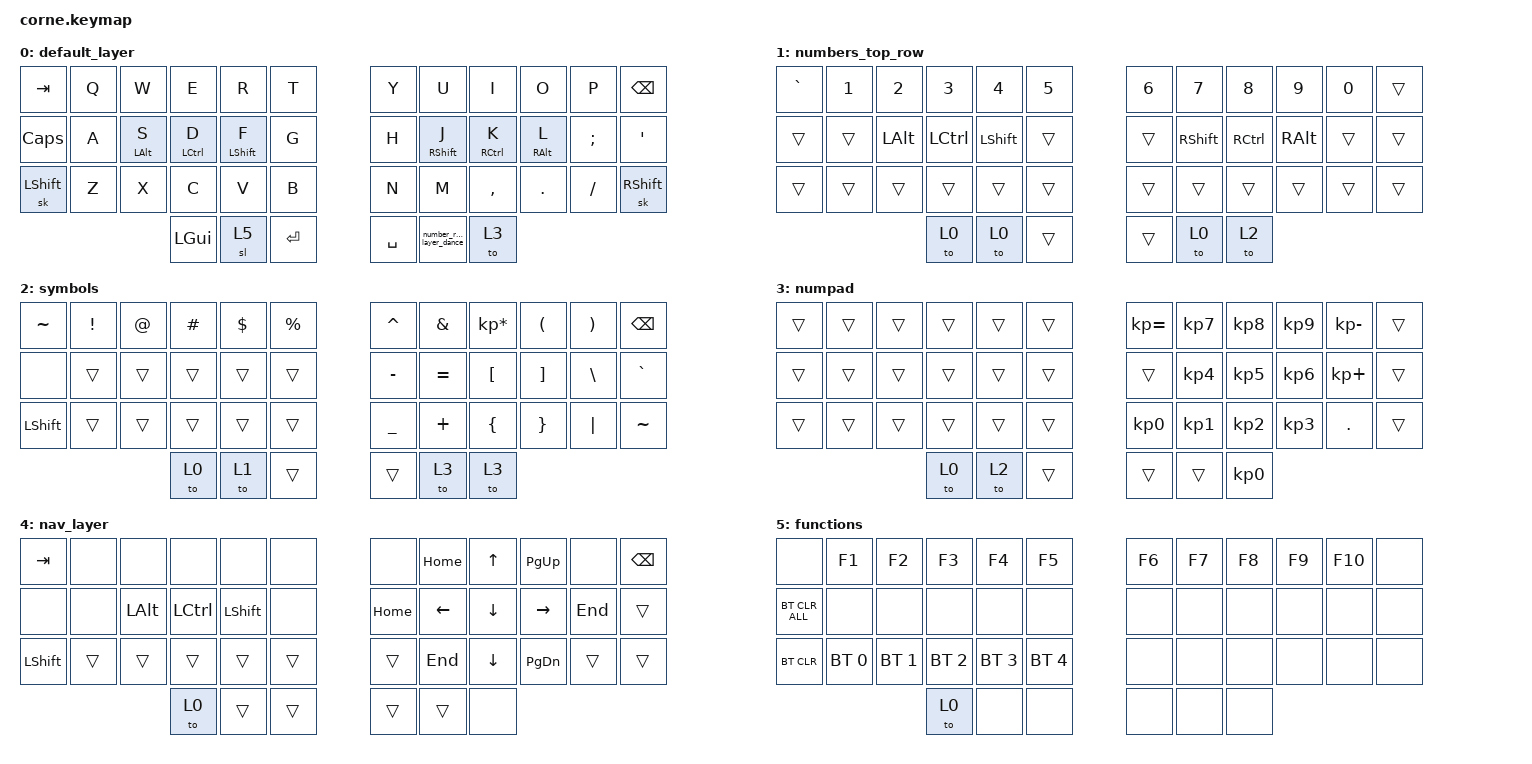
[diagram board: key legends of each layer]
/*
 * Copyright (c) 2020 The ZMK Contributors
 *
 * SPDX-License-Identifier: MIT
 */

#include <behaviors.dtsi>
#include <dt-bindings/zmk/bt.h>
#include <dt-bindings/zmk/keys.h>

/ {
    //
    // Corne Key Positions
    //
    // | 0  | 1  | 2  | 3  | 4  | 5  |   | 6  | 7  | 8  | 9  | 10 | 11 |
    // | 12 | 13 | 14 | 15 | 16 | 17 |   | 18 | 19 | 20 | 21 | 22 | 23 |
    // | 24 | 25 | 26 | 27 | 28 | 29 |   | 30 | 31 | 32 | 33 | 34 | 35 |
    //                | 36 | 37 | 38 |   | 39 | 40 | 41 |
    //

    #define LEFT_HAND_KEYS      \
          0  1  2  3  4  5      \
         12 13 14 15 16 17      \
         24 25 26 27 28 29

    #define RIGHT_HAND_KEYS     \
                                        6  7  8  9 10 11 \
                                       18 19 20 21 22 23 \
                                       30 31 32 33 34 35 

    #define THUMB_KEYS   36 37 38   39 40 41

    #define HOMEY_HOLDING_TYPE "tap-preferred"
    #define INDEX_HOLDING_TYPE "tap-preferred"

    //
    // HOMEY_HOLDING_TIME defines how long you need to hold (milliseconds)
    // home row mod keys in order to send their modifiers to the computer
    // (i.e. "register" them) for mod-click mouse usage (e.g. Ctrl-Click).
    //
    #define HOMEY_HOLDING_TIME 270 // expert (100ms)
    #define INDEX_HOLDING_TIME 170


    //
    // HOMEY_STREAK_DECAY defines how long you need to wait (milliseconds)
    // after typing before you can use home row mods again.  It prevents
    // unintended activation of home row mods when you're actively typing.
    //
    #define INDEX_STREAK_DECAY 150
    #define HOMEY_STREAK_DECAY 250
    

    //
    // HOMEY_REPEAT_DECAY defines how much time you have left (milliseconds)
    // after tapping a key to hold it again in order to make it auto-repeat.
    //
    #define INDEX_REPEAT_DECAY 300 // "tap then hold" for key auto-repeat
    #define HOMEY_REPEAT_DECAY 300 // "tap then hold" for key auto-repeat
    behaviors {
        left_pinky: homey_left_pinky {
            compatible = "zmk,behavior-hold-tap";
            flavor = "tap-preferred";
            hold-trigger-key-positions = <RIGHT_HAND_KEYS THUMB_KEYS>;
            hold-trigger-on-release; // wait for other home row mods
            tapping-term-ms = <HOMEY_HOLDING_TIME>;
            quick-tap-ms = <HOMEY_REPEAT_DECAY>;
            require-prior-idle-ms = <HOMEY_STREAK_DECAY>;
            #binding-cells = <2>;
            bindings = <&kp>, <&kp>;
        };

        right_pinky: homey_right_pinky {
            compatible = "zmk,behavior-hold-tap";
            flavor = "tap-preferred";
            hold-trigger-key-positions = <LEFT_HAND_KEYS THUMB_KEYS>;
            hold-trigger-on-release; // wait for other home row mods
            tapping-term-ms = <HOMEY_HOLDING_TIME>;
            quick-tap-ms = <HOMEY_REPEAT_DECAY>;
            require-prior-idle-ms = <HOMEY_STREAK_DECAY>;
            #binding-cells = <2>;
            bindings = <&kp>, <&kp>;
        };

        left_ring: homey_left_ring {
            compatible = "zmk,behavior-hold-tap";
            flavor = "tap-preferred";
            hold-trigger-key-positions = <RIGHT_HAND_KEYS THUMB_KEYS>;
            hold-trigger-on-release; // wait for other home row mods
            tapping-term-ms = <HOMEY_HOLDING_TIME>;
            quick-tap-ms = <HOMEY_REPEAT_DECAY>;
            require-prior-idle-ms = <HOMEY_STREAK_DECAY>;
            #binding-cells = <2>;
            bindings = <&kp>, <&kp>;
        };

        right_ring: homey_right_ring {
            compatible = "zmk,behavior-hold-tap";
            flavor = "tap-preferred";
            hold-trigger-key-positions = <LEFT_HAND_KEYS THUMB_KEYS>;
            hold-trigger-on-release; // wait for other home row mods
            tapping-term-ms = <HOMEY_HOLDING_TIME>;
            quick-tap-ms = <HOMEY_REPEAT_DECAY>;
            require-prior-idle-ms = <HOMEY_STREAK_DECAY>;
            #binding-cells = <2>;
            bindings = <&kp>, <&kp>;
        };

        left_middy: homey_left_middy {
            compatible = "zmk,behavior-hold-tap";
            flavor = "tap-preferred";
            hold-trigger-key-positions = <RIGHT_HAND_KEYS THUMB_KEYS>;
            hold-trigger-on-release; // wait for other home row mods
            tapping-term-ms = <HOMEY_HOLDING_TIME>;
            quick-tap-ms = <HOMEY_REPEAT_DECAY>;
            require-prior-idle-ms = <HOMEY_STREAK_DECAY>;
            #binding-cells = <2>;
            bindings = <&kp>, <&kp>;
        };

        right_middy: homey_right_middy {
            compatible = "zmk,behavior-hold-tap";
            flavor = "tap-preferred";
            hold-trigger-key-positions = <LEFT_HAND_KEYS THUMB_KEYS>;
            hold-trigger-on-release; // wait for other home row mods
            tapping-term-ms = <HOMEY_HOLDING_TIME>;
            quick-tap-ms = <HOMEY_REPEAT_DECAY>;
            require-prior-idle-ms = <HOMEY_STREAK_DECAY>;
            #binding-cells = <2>;
            bindings = <&kp>, <&kp>;
        };

        left_index: homey_left_index {
            compatible = "zmk,behavior-hold-tap";
            flavor = "tap-preferred";
            hold-trigger-key-positions = <RIGHT_HAND_KEYS THUMB_KEYS>;
            hold-trigger-on-release; // wait for other home row mods
            tapping-term-ms = <INDEX_HOLDING_TIME>;
            quick-tap-ms = <INDEX_REPEAT_DECAY>;
            require-prior-idle-ms = <INDEX_STREAK_DECAY>;
            #binding-cells = <2>;
            bindings = <&kp>, <&kp>;
        };

        right_index: homey_right_index {
            compatible = "zmk,behavior-hold-tap";
            flavor = "tap-preferred";
            hold-trigger-key-positions = <LEFT_HAND_KEYS THUMB_KEYS>;
            hold-trigger-on-release; // wait for other home row mods
            tapping-term-ms = <INDEX_HOLDING_TIME>;
            quick-tap-ms = <INDEX_REPEAT_DECAY>;
            require-prior-idle-ms = <INDEX_STREAK_DECAY>;
            #binding-cells = <2>;
            bindings = <&kp>, <&kp>;
        };

        number_row_layer_dance: number_row_layer_dance {
            compatible = "zmk,behavior-tap-dance";
            label = "NUMBER_ROW_LAYER_DANCE";
            #binding-cells = <0>;
            bindings = <&mo 1>, <&to 1>;
        };
    };

    // MACROS **********************

    macros {
        switch_window: switch_window {
            compatible = "zmk,behavior-macro";
            #binding-cells = <0>;
            bindings =
                <&macro_press>,
                <&mo 4 &kp LALT>,
                <&macro_tap>,
                <&kp TAB>,
                <&macro_pause_for_release>,
                <&macro_release>,
                <&mo 4 &kp LALT>;
        };

        fat_arrow_macro: fat_arrow_macro {
            compatible = "zmk,behavior-macro";
            #binding-cells = <0>;
            bindings = <&macro_tap>, <&kp EQUAL &kp GREATER_THAN>;

            label = "FAT_ARROW_MACRO";
        };

        slim_arrow_macro: slim_arrow_macro {
            compatible = "zmk,behavior-macro";
            #binding-cells = <0>;
            bindings = <&macro_tap>, <&kp MINUS &kp GREATER_THAN>;

            label = "SLIM_ARROW_MACRO";
        };

        atlantic_2nd: atlantic_2nd {
            compatible = "zmk,behavior-macro";
            #binding-cells = <0>;
            bindings = <&macro_tap>, <&kp LS(A) &kp PERIOD &kp NUMBER_2 &kp D>;

            label = "ATLANTIC_2ND";
        };

        section_symbol: section_symbol {
            compatible = "zmk,behavior-macro";
            #binding-cells = <0>;
            bindings =
                <&macro_press>,
                <&kp LEFT_ALT>,
                <&macro_tap>,
                <&kp KP_N0 &kp KP_NUMBER_1 &kp KP_NUMBER_6 &kp KP_NUMBER_7>,
                <&macro_release>,
                <&kp LEFT_ALT>;

            label = "SECTION_SYMBOL";
        };

        atlantic_reporter: atlantic_reporter {
            compatible = "zmk,behavior-macro-one-param";
            #binding-cells = <1>;
            bindings =
                <&macro_tap>,
                <&kp LS(A) &kp PERIOD &macro_param_1to1>,
                <&macro_tap>,
                <&kp MACRO_PLACEHOLDER &kp D>;

            label = "ATLANTIC_REPORTER";
        };

        paragraph_symbol: paragraph_symbol {
            compatible = "zmk,behavior-macro";
            #binding-cells = <0>;
            bindings =
                <&macro_press>,
                <&kp LEFT_ALT>,
                <&macro_tap>,
                <&kp KP_N0 &kp KP_NUMBER_1 &kp KP_NUMBER_8 &kp KP_NUMBER_2>,
                <&macro_release>,
                <&kp LEFT_ALT>;

            label = "PARAGRAPH_SYMBOL";
        };
    };

    combos {
        compatible = "zmk,combos";

        combo_l_layer {
            bindings = <&kp LEFT_BRACE>;
            key-positions = <6 7>;
            timeout-ms = <50>;
        };

        combo_r_brace {
            bindings = <&kp RIGHT_BRACE>;
            key-positions = <8 9>;
        };

        open_paren {
            bindings = <&kp LEFT_PARENTHESIS>;
            key-positions = <18 19>;
        };

        close_paren {
            bindings = <&kp RIGHT_PARENTHESIS>;
            key-positions = <20 21>;
        };

        open_bracket {
            bindings = <&kp LEFT_BRACKET>;
            key-positions = <31 30>;
        };

        close_bracket {
            bindings = <&kp RIGHT_BRACKET>;
            key-positions = <32 33>;
        };

        dash {
            bindings = <&kp MINUS>;
            key-positions = <19 20>;
        };

        underscore {
            bindings = <&kp UNDERSCORE>;
            key-positions = <31 32>;
        };

        nav_layer {
            bindings = <&mo 4>;
            key-positions = <13 38>;
        };

        keypad {
            bindings = <&mo 3>;
            key-positions = <38 15>;
        };

        enter {
            bindings = <&kp ENTER>;
            key-positions = <21 22>;
        };

        switch {
            bindings = <&switch_window>;
            key-positions = <1 2>;
        };

        left_shift {
            bindings = <&sk LEFT_SHIFT>;
            key-positions = <25 26>;
        };

        right_shift {
            bindings = <&sk RIGHT_SHIFT>;
            key-positions = <33 34>;
        };

        combo_caps {
            bindings = <&caps_word>;
            key-positions = <16 19>;
        };

        equals {
            bindings = <&kp EQUAL>;
            key-positions = <7 8>;
        };

        combo_delete {
            bindings = <&kp DELETE>;
            key-positions = <10 11>;
        };

        combo_fat_arrow {
            bindings = <&fat_arrow_macro>;
            key-positions = <7 8 9>;
        };

        combo_slim_arrow {
            bindings = <&slim_arrow_macro>;
            key-positions = <19 20 21>;
        };

        combo_gmail_delete {
            bindings = <&kp HASH>;
            key-positions = <3 4>;
        };

        atlantic_2nd {
            bindings = <&atlantic_reporter KP_NUMBER_2>;
            key-positions = <13 32>;
            timeout-ms = <100>;
        };

        atlantic_3rd {
            bindings = <&atlantic_reporter KP_NUMBER_3>;
            key-positions = <13 33>;
            timeout-ms = <100>;
        };

        section_symbol {
            bindings = <&section_symbol>;
            key-positions = <14 21>;
            timeout-ms = <100>;
        };

        combo_pilcrow {
            bindings = <&paragraph_symbol>;
            key-positions = <14 10>;
            timeout-ms = <100>;
        };
    };

    keymap {
        compatible = "zmk,keymap";

        default_layer {
            // -----------------------------------------------------------------------------------------
            // |  TAB |  Q  |  W  |  E  |  R  |  T  |   |  Y  |  U   |  I  |  O  |  P  | BKSP |
            // | CTRL |  A  |  S  |  D  |  F  |  G  |   |  H  |  J   |  K  |  L  |  ;  |  '   |             
            // | SHFT |  Z  |  X  |  C  |  V  |  B  |   |  N  |  M   |  ,  |  .  |  /  | ESC  |
            //                    | GUI | LWR | SPC |   | ENT | RSE  | ALT |

            bindings = <
&kp TAB         &kp Q  &kp W                  &kp E                &kp R                     &kp T      &kp Y      &kp U                    &kp I                 &kp O                    &kp P     &kp BSPC
&kp CAPS        &kp A  &left_ring LEFT_ALT S  &left_middy LCTRL D  &left_index LEFT_SHIFT F  &kp G      &kp H      &right_index RSHIFT J    &right_middy RCTRL K  &right_ring RIGHT_ALT L  &kp SEMI  &kp SQT
&sk LEFT_SHIFT  &kp Z  &kp X                  &kp C                &kp V                     &kp B      &kp N      &kp M                    &kp COMMA             &kp DOT                  &kp FSLH  &sk RIGHT_SHIFT
                                              &kp LEFT_GUI         &sl 5                     &kp RET    &kp SPACE  &number_row_layer_dance  &to 3
            >;
        };

        numbers_top_row {
            bindings = <
&kp GRAVE  &kp NUMBER_1  &kp NUMBER_2  &kp NUMBER_3  &kp NUMBER_4    &kp N5    &kp NUMBER_6  &kp N7           &kp N8     &kp N9         &kp N0  &trans
&trans     &trans        &kp LEFT_ALT  &kp LCTRL     &kp LEFT_SHIFT  &trans    &trans        &kp RIGHT_SHIFT  &kp RCTRL  &kp RIGHT_ALT  &trans  &trans
&trans     &trans        &trans        &trans        &trans          &trans    &trans        &trans           &trans     &trans         &trans  &trans
                                       &to 0         &to 0           &trans    &trans        &to 0            &to 2
            >;
        };

        symbols {
            // -----------------------------------------------------------------------------------------
            // |  TAB |  !  |  @  |  #  |  $  |  %  |   |  ^  |  &  |  *  |  (  |  )  | BKSP |
            // | CTRL |     |     |     |     |     |   |  -  |  =  |  [  |  ]  |  \  |  `   |
            // | SHFT |     |     |     |     |     |   |  _  |  +  |  {  |  }  | "|" |  ~   |
            //                    | GUI |     | SPC |   | ENT |     | ALT |

            bindings = <
&kp TILDE  &kp EXCL  &kp AT  &kp HASH  &kp DLLR  &kp PRCNT    &kp CARET  &kp AMPS   &kp KP_MULTIPLY  &kp LPAR  &kp RPAR  &kp BSPC
&none      &trans    &trans  &trans    &trans    &trans       &kp MINUS  &kp EQUAL  &kp LBKT         &kp RBKT  &kp BSLH  &kp GRAVE
&kp LSHFT  &trans    &trans  &trans    &trans    &trans       &kp UNDER  &kp PLUS   &kp LBRC         &kp RBRC  &kp PIPE  &kp TILDE
                             &to 0     &to 1     &trans       &trans     &to 3      &to 3
            >;
        };

        numpad {
            bindings = <
&trans  &trans  &trans  &trans  &trans  &trans    &kp KP_EQUAL  &kp KP_NUMBER_7  &kp KP_NUMBER_8  &kp KP_NUMBER_9  &kp KP_MINUS  &trans
&trans  &trans  &trans  &trans  &trans  &trans    &trans        &kp KP_NUMBER_4  &kp KP_NUMBER_5  &kp KP_NUMBER_6  &kp KP_PLUS   &trans
&trans  &trans  &trans  &trans  &trans  &trans    &kp KP_N0     &kp KP_NUMBER_1  &kp KP_NUMBER_2  &kp KP_NUMBER_3  &kp PERIOD    &trans
                        &to 0   &to 2   &trans    &trans        &trans           &kp KP_NUMBER_0
            >;
        };

        nav_layer {
            // -----------------------------------------------------------------------------------------
            // |  TAB |  1  |  2  |  3  |  4  |  5  |   |  6  |  7  |  8  |  9  |  0  | BKSP |
            // | BTCLR| BT1 | BT2 | BT3 | BT4 | BT5 |   | LFT | DWN |  UP | RGT |     |      |
            // | SHFT |     |     |     |     |     |   |     |     |     |     |     |      |
            //                    | GUI |     | SPC |   | ENT |     | ALT |

            bindings = <
&kp TAB    &none   &none         &none             &none           &none     &none     &kp HOME  &kp UP    &kp PAGE_UP    &none    &kp BSPC
&none      &none   &kp LEFT_ALT  &kp LEFT_CONTROL  &kp LEFT_SHIFT  &none     &kp HOME  &kp LEFT  &kp DOWN  &kp RIGHT      &kp END  &trans
&kp LSHFT  &trans  &trans        &trans            &trans          &trans    &trans    &kp END   &kp DOWN  &kp PAGE_DOWN  &trans   &trans
                                 &to 0             &trans          &trans    &trans    &trans    &none
            >;
        };

        functions {
            bindings = <
&none           &kp F1        &kp F2        &kp F3        &kp F4        &kp F5          &kp F6  &kp F7  &kp F8  &kp F9  &kp F10  &none
&bt BT_CLR_ALL  &none         &none         &none         &none         &none           &none   &none   &none   &none   &none    &none
&bt BT_CLR      &bt BT_SEL 0  &bt BT_SEL 1  &bt BT_SEL 2  &bt BT_SEL 3  &bt BT_SEL 4    &none   &none   &none   &none   &none    &none
                                            &to 0         &none         &none           &none   &none   &none
            >;
        };
    };
};
